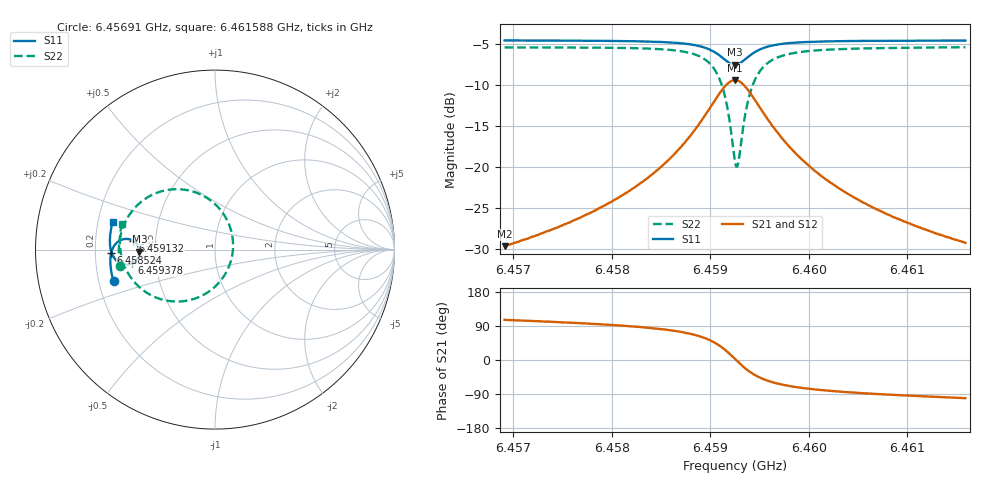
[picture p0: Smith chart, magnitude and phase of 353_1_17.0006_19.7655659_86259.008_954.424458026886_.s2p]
#  HZ  S  RI  R  50.00
! Rohde & Schwarz Vector Network Analyzer
! Rohde-Schwarz,ZNB20-2Port,1311601062101988,3.16
! Created: UTC 3/20/2024, 11:07:54 PM
! freq[Hz]  re:S11  im:S11  re:S21  im:S21  re:S12  im:S12  re:S22  im:S22
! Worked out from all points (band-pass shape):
!   401 points, 6.45691 GHz to 6.461588 GHz, reference 50 ohm
!   highest |S21| = -9.40 dB at 6.459249 GHz (marker M1); lowest = -29.7 dB at 6.45691 GHz (marker M2)
!   |S21| within 3 dB of the highest: 6.459016 GHz to 6.459483 GHz (467.6 kHz wide, 0.00724 % of centre)
!   lowest |S11| = -7.5 dB at 6.459249 GHz (marker M3), VSWR 2.45, Z = 20.4 - j0.584 ohm
!   |S11| at or under -10 dB: nowhere
!   |S22| runs from -20.0 to -5.4 dB; largest |S21 - S12| = 0.013
!   S11 on the Smith chart (normalised r, x): 6.45691 GHz: 0.26, -0.14; 6.458524 GHz: 0.27, -0.01; 6.459132 GHz: 0.37, +0.05; 6.459378 GHz: 0.36, -0.07; 6.461588 GHz: 0.26, +0.12
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6.4569098e9  -0.5649 -0.1775  -0.00917 0.0316  -0.00734 0.0317  -0.5294 -0.09
6.4576935e9  -0.5798 -0.1093  -0.00605 0.0493  -0.00354 0.0488  -0.5358 6.05e-05
6.4580912e9  -0.5831 -0.0702  -0.000967 0.0665  0.00205 0.0652  -0.5299 0.0609
6.4584772e9  -0.5796 -0.0249  0.0132 0.0969  0.0171 0.0942  -0.5044 0.1445
6.458524e9  -0.5784 -0.0186  0.0165 0.1022  0.0205 0.0993  -0.4983 0.1575
6.4587345e9  -0.5666 0.0133  0.0419 0.1335  0.0461 0.1288  -0.4506 0.2284
6.4588866e9  -0.5458 0.0396  0.0836 0.1635  0.087 0.1569  -0.3738 0.2922
6.4590386e9  -0.5005 0.0594  0.1738 0.1827  0.1749 0.1753  -0.2094 0.3366
6.4591322e9  -0.4566 0.0498  0.2623 0.1526  0.2625 0.1466  -0.0459 0.2886
6.459179e9  -0.4357 0.0314  0.3053 0.1108  0.3065 0.1056  0.0359 0.2147
6.4592491e9  -0.4209 -0.0118  0.3387 0.0159  0.342 0.00909  0.1004 0.039
6.4592725e9  -0.4227 -0.0275  0.3368 -0.0189  0.3404 -0.027  0.0969 -0.0265
6.4592842e9  -0.4247 -0.0349  0.3334 -0.0356  0.3369 -0.0445  0.0901 -0.0584
6.459331e9  -0.4398 -0.0605  0.3056 -0.0947  0.3076 -0.1062  0.0345 -0.1695
6.4593778e9  -0.4616 -0.0766  0.2646 -0.1353  0.2637 -0.148  -0.0483 -0.2433
6.4594714e9  -0.5042 -0.0832  0.1814 -0.1663  0.1755 -0.1775  -0.2134 -0.2895
6.4596234e9  -0.5474 -0.0628  0.095 -0.1531  0.0868 -0.1591  -0.3779 -0.2418
6.4597872e9  -0.5686 -0.0352  0.051 -0.1259  0.0435 -0.1287  -0.457 -0.1715
6.4600328e9  -0.5812 0.000389  0.0222 -0.0953  0.0165 -0.0958  -0.5046 -0.0905
6.4603837e9  -0.5856 0.0416  0.00633 -0.069  0.00236 -0.0686  -0.5259 -0.0121
6.4608165e9  -0.5836 0.0847  -0.00138 -0.0509  -0.00414 -0.05  -0.5302 0.0556
6.4615884e9  -0.571 0.1527  -0.00641 -0.0339  -0.00807 -0.033  -0.5187 0.1454
